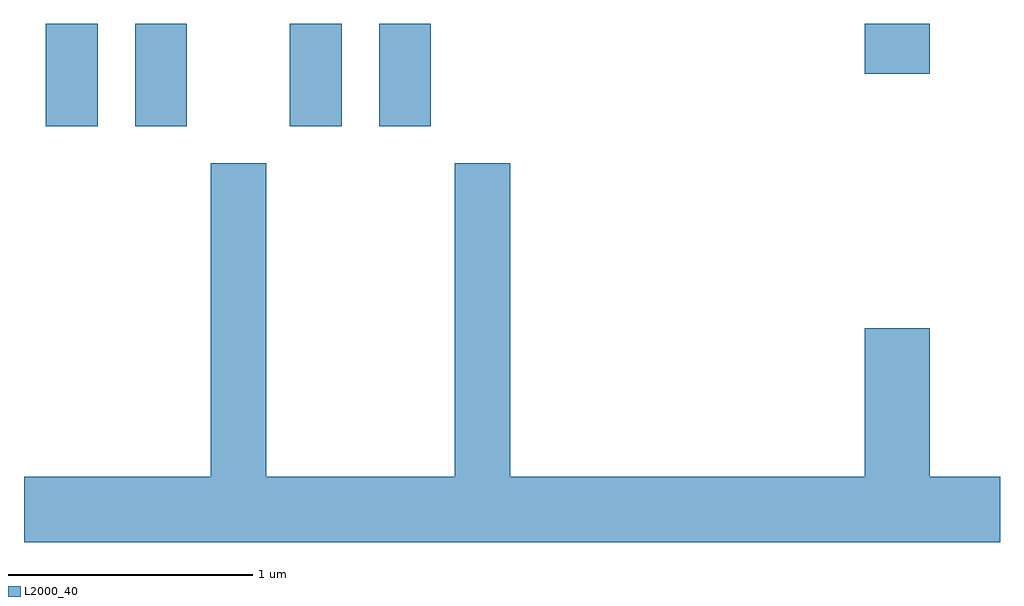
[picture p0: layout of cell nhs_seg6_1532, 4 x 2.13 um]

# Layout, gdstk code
import gdstk
lib = gdstk.Library(unit=1e-6, precision=1e-09)
def R(c, l, rs):  # rectangles x0, y0, x1, y1
    for r in rs: c.add(gdstk.rectangle(r[:2], r[2:], *l))
def P(c, l, *ps):  # polygons
    for p in ps: c.add(gdstk.Polygon(p, *l))
L2000_40 = (2000, 40)

nhs_seg6_1532 = lib.new_cell('nhs_seg6_1532')
R(nhs_seg6_1532, L2000_40, [(231.701,1551.741,231.914,1552.162), (232.066,1551.741,232.279,1552.162), (232.701,1551.741,232.914,1552.162), (233.066,1551.741,233.279,1552.162), (235.056,1551.956,235.324,1552.162)])
P(nhs_seg6_1532, L2000_40, [(235.611,1550.304),(235.324,1550.304),(235.324,1550.914),(235.056,1550.914),(235.056,1550.304),(233.604,1550.304),(233.604,1551.589),(233.376,1551.589),(233.376,1550.304),(232.604,1550.304),(232.604,1551.589),(232.376,1551.589),(232.376,1550.304),(231.611,1550.304),(231.611,1550.036),(235.611,1550.036)])

lib.write_gds('nhs_seg6_1532.gds')
